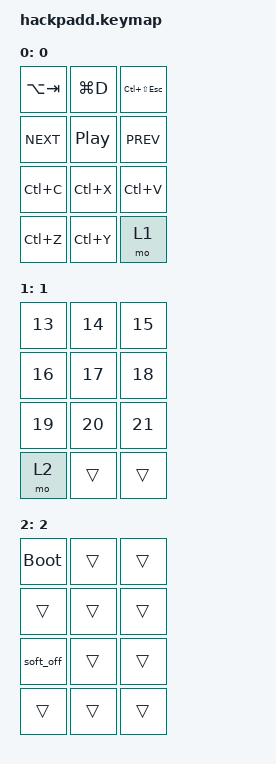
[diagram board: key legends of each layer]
#include <behaviors.dtsi>
#include <dt-bindings/zmk/keys.h>

/ {
    keymap {
        compatible = "zmk,keymap";
        0 {
            bindings = <
                &kp LA(TAB) &kp LG(D) &kp LC(LS(ESC))
                &kp C_NEXT &kp C_PP &kp C_PREV
                &kp LC(C) &kp LC(X) &kp LC(V)
                &kp LC(Z) &kp LC(Y) &mo 1
            >;
        };
        1 {
            bindings = <
                &kp 13 &kp 14 &kp 15
                &kp 16 &kp 17 &kp 18
                &kp 19 &kp 20 &kp 21
                &mo 2 &trans &trans
            >;
        };
        2 {
            bindings = <
                &bootloader &trans &trans
                &trans &trans &trans 
                &soft_off &trans &trans
                &trans &trans &trans 
            >;
        };
    };
};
